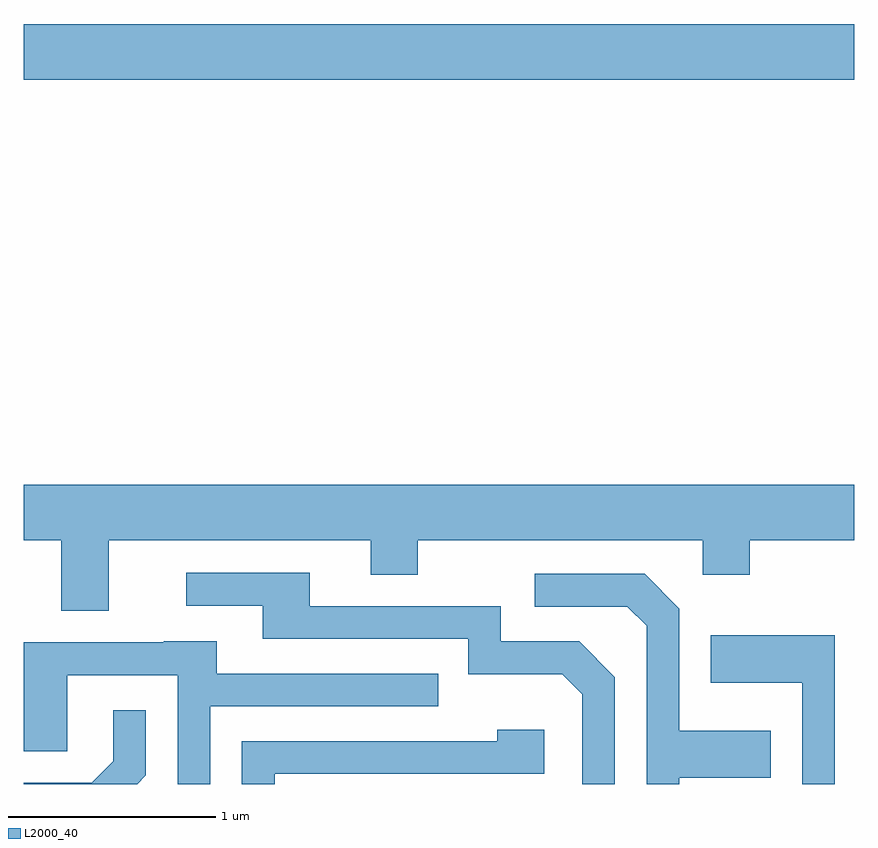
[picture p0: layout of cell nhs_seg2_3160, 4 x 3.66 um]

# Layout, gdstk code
import gdstk
lib = gdstk.Library(unit=1e-6, precision=1e-09)
def R(c, l, rs):  # rectangles x0, y0, x1, y1
    for r in rs: c.add(gdstk.rectangle(r[:2], r[2:], *l))
def P(c, l, *ps):  # polygons
    for p in ps: c.add(gdstk.Polygon(p, *l))
L2000_40 = (2000, 40)

nhs_seg2_3160 = lib.new_cell('nhs_seg2_3160')
R(nhs_seg2_3160, L2000_40, [(277.611,1057.196,281.611,1057.464)])
P(nhs_seg2_3160, L2000_40, [(278.019,1054.976),(279.281,1054.976),(279.281,1054.811),(279.509,1054.811),(279.509,1054.976),(280.881,1054.976),(280.881,1054.811),(281.109,1054.811),(281.109,1054.976),(281.611,1054.976),(281.611,1055.244),(277.611,1055.244),(277.611,1054.976),(277.791,1054.976),(277.791,1054.636),(278.019,1054.636)],
  [(280.459,1054.317),(280.287,1054.489),(279.909,1054.489),(279.909,1054.659),(278.989,1054.659),(278.989,1054.819),(278.393,1054.819),(278.393,1054.661),(278.761,1054.661),(278.761,1054.501),(279.751,1054.501),(279.751,1054.331),(280.204,1054.331),(280.301,1054.234),(280.301,1053.802),(280.459,1053.802)],
  [(280.769,1053.831),(281.209,1053.831),(281.209,1054.059),(280.769,1054.059),(280.769,1054.647),(280.602,1054.814),(280.073,1054.814),(280.073,1054.656),(280.519,1054.656),(280.611,1054.564),(280.611,1053.802),(280.769,1053.802)],
  [(281.519,1054.519),(280.921,1054.519),(280.921,1054.291),(281.361,1054.291),(281.361,1053.802),(281.519,1053.802)],
  [(278.509,1054.176),(279.608,1054.176),(279.608,1054.334),(278.539,1054.334),(278.539,1054.489),(278.285,1054.489),(278.285,1054.484),(277.611,1054.484),(277.611,1053.961),(277.819,1053.961),(277.819,1054.326),(278.351,1054.326),(278.351,1053.802),(278.509,1053.802)],
  [(278.199,1053.844),(278.199,1054.158),(278.041,1054.158),(278.041,1053.912),(277.939,1053.809),(277.611,1053.809),(277.611,1053.802),(278.157,1053.802)],
  [(278.819,1053.851),(280.119,1053.851),(280.119,1054.064),(279.891,1054.064),(279.891,1054.009),(278.661,1054.009),(278.661,1053.802),(278.819,1053.802)])

lib.write_gds('nhs_seg2_3160.gds')
